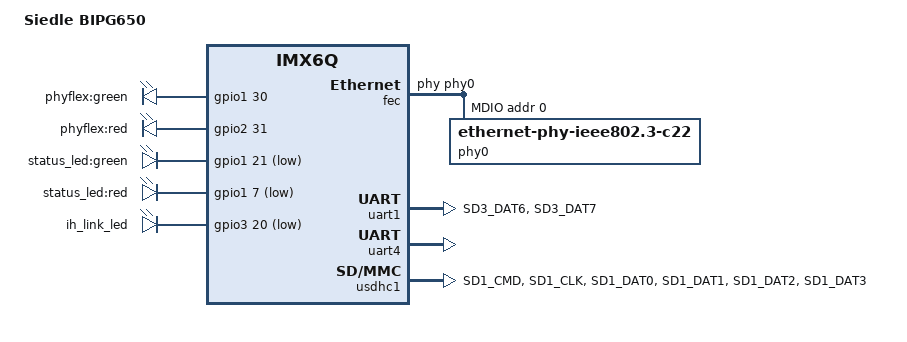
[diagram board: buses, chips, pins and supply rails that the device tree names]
/*
 * Copyright 2013 Christian Hemp, Phytec Messtechnik GmbH
 *
 * The code contained herein is licensed under the GNU General Public
 * License. You may obtain a copy of the GNU General Public License
 * Version 2 or later at the following locations:
 *
 * http://www.opensource.org/licenses/gpl-license.html
 * http://www.gnu.org/copyleft/gpl.html
 */

/dts-v1/;
#include <dt-bindings/gpio/gpio.h>
#include "imx6q-phytec-pfla02.dtsi"

/ {
	model = "Siedle BIPG650";
	compatible = "siedle,imx6q-bipg650-0m", "phytec,imx6q-pfla02", "fsl,imx6q";

	aliases {
		/* make the 'state' tool happy */
		state = &state;
	};

	chosen {
		linux,stdout-path = &uart1;

		environment@0 {
			compatible = "barebox,environment";
			device-path = &flash, "partname:barebox-environment";
		};
	};

	soc {
		leds {
			pinctrl-names = "default";
			pinctrl-0 = <&pinctrl_led_pfla02 &pinctrl_led_dcip2>;
			compatible = "gpio-leds";

			pfla02_green {
				label = "phyflex:green";
				gpios = <&gpio1 30 GPIO_ACTIVE_HIGH>;
			};
			pfla02_red {
				label = "phyflex:red";
				gpios = <&gpio2 31 GPIO_ACTIVE_HIGH>;
				// linux,default-trigger = "heartbeat";
			};
			dcip2_ld201-green {
				label = "status_led:green";
				gpios = <&gpio1 21 GPIO_ACTIVE_LOW>;
			};
			dcip2_ld201-red {
				label = "status_led:red";
				gpios = <&gpio1 7 GPIO_ACTIVE_LOW>;
			};
			dcip2_ld202 {
				label = "ih_link_led";
				gpios = <&gpio3 20 GPIO_ACTIVE_LOW>;
			};
		};
	};

	state: state@0 {
		magic = <0x4d433230>;
		compatible = "barebox,state";
		backend-type = "raw";
		backend = &flash, "partname:state";
		#address-cells = <1>;
		#size-cells = <1>;

		active_firmware_slot@1 {
			reg = <0 4>;
			type = "enum32";
			names = "none", "slot1", "slot2";
			default = <0>;
		};

		next_firmware_slot@2 {
			reg = <4 4>;
			type = "enum32";
			names = "none", "slot1", "slot2";
			default = <0>;
		};

		content_firmware_slot1@3 {
			/* content description of slot#1 */
			reg = <8 4>;
			type = "enum32";
			names = "empty", "deployed", "invalid", "broken";
			default = <0>;
		};

		content_firmware_slot2@4 {
			/* content description of slot#1 */
			reg = <12 4>;
			type = "enum32";
			names = "empty", "deployed", "invalid", "broken";
			default = <0>;
		};
	};
};

&fec {
	status = "okay";
	phy-handle = <&phy0>;

	fec_mdio: mdio {
		#address-cells = <1>;
		#size-cells = <0>;
		phy0: ethernet-phy@0 {
			compatible = "ethernet-phy-ieee802.3-c22";
			reg = <0>;
			max-speed = <100>;
		};
	};
};

&iomuxc {
	pinctrl-names = "default";
	pinctrl-0 = <&pinctrl_hog &pinctrl_hog_dcip2>;

	hog-dcip2 {
		pinctrl_hog_dcip2: hoggrp-dcip2 {
			fsl,pins = <
				MX6QDL_PAD_GPIO_17__GPIO7_IO12    0x80000000 /* SD slot power */
			>;
		};
	};

	uart {
		pinctrl_uart1_2: uart1grp-2 {
			fsl,pins = <
				MX6QDL_PAD_SD3_DAT6__UART1_RX_DATA 0x1b0b1
				MX6QDL_PAD_SD3_DAT7__UART1_TX_DATA 0x1b0b1
			>;
		};
	};

	usdhc1 {
		pinctrl_usdhc1_1: usdhc1grp-1 {
			fsl,pins = <
				MX6QDL_PAD_SD1_CMD__SD1_CMD    0x17059
				MX6QDL_PAD_SD1_CLK__SD1_CLK    0x10059
				MX6QDL_PAD_SD1_DAT0__SD1_DATA0 0x17059
				MX6QDL_PAD_SD1_DAT1__SD1_DATA1 0x17059
				MX6QDL_PAD_SD1_DAT2__SD1_DATA2 0x17059
				MX6QDL_PAD_SD1_DAT3__SD1_DATA3 0x17059
			>;
		};
	};

	leds {
		pinctrl_led_pfla02: ledpfla02grp-1 {
			fsl,pins = <
				MX6QDL_PAD_ENET_TXD0__GPIO1_IO30 0x80000000 /* phyFLEX-i.MX6: Green LED */
				MX6QDL_PAD_EIM_EB3__GPIO2_IO31   0x80000000 /* phyFLEX-i.MX6: Red LED */
			>;
		};
		pinctrl_led_dcip2: leddcip2grp-1 {
			fsl,pins = <
				MX6QDL_PAD_SD1_DAT3__GPIO1_IO21 0x1b0b0 /* #STATUS_LED_GN */
				MX6QDL_PAD_GPIO_7__GPIO1_IO07   0x1b0b0 /* #STATUS_LED_RD */
				MX6QDL_PAD_EIM_D20__GPIO3_IO20  0x1b0b0 /* #IH_LINK_LED */
			>;
		};
	};
};

&uart1 {
	pinctrl-names = "default";
	pinctrl-0 = <&pinctrl_uart1_2>;
	status = "okay";
};

&uart4 {
	status = "okay";
};

&usdhc1 {
	pinctrl-names = "default";
	pinctrl-0 = <&pinctrl_usdhc1_1>;
	status = "okay";
};
